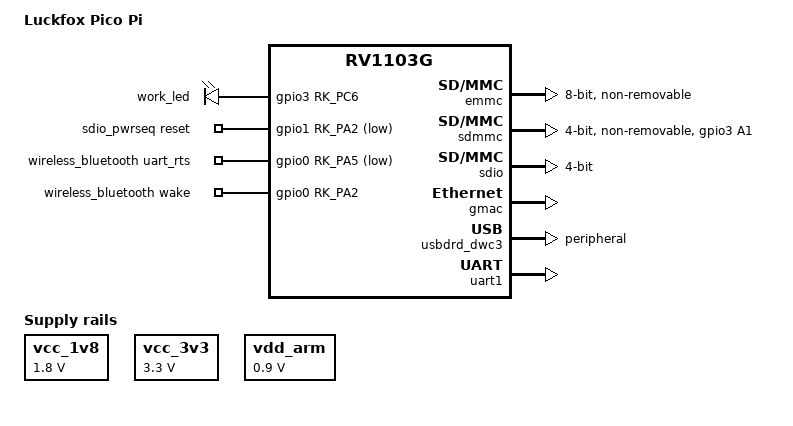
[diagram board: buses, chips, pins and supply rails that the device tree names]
// SPDX-License-Identifier: (GPL-2.0+ OR MIT)
/*
 * Copyright (c) 2023 Luckfox Electronics Co., Ltd.
 */

/dts-v1/;

#include "rv1106.dtsi"
#include <dt-bindings/input/input.h>

/ {
	model = "Luckfox Pico Pi";
	compatible = "rockchip,rv1103g-38x38-ipc-v10", "rockchip,rv1106g3";

	aliases {
		ethernet0 = &gmac;
		mmc0 = &emmc;
		mmc1 = &sdmmc;
		mmc2 = &sdio;
		serial2 = &uart2;
	};

	chosen {
		stdout-path = "serial2:115200n8";
	};

	vcc_1v8: vcc-1v8 {
		compatible = "regulator-fixed";
		regulator-name = "vcc_1v8";
		regulator-always-on;
		regulator-boot-on;
		regulator-min-microvolt = <1800000>;
		regulator-max-microvolt = <1800000>;
	};

	vcc_3v3: vcc-3v3 {
		compatible = "regulator-fixed";
		regulator-name = "vcc_3v3";
		regulator-always-on;
		regulator-boot-on;
		regulator-min-microvolt = <3300000>;
		regulator-max-microvolt = <3300000>;
	};

	vdd_arm: vdd-arm {
		compatible = "regulator-fixed";
		regulator-name = "vdd_arm";
		regulator-min-microvolt = <900000>;
		regulator-max-microvolt = <900000>;
		regulator-always-on;
		regulator-boot-on;
	};

	leds: leds {
		compatible = "gpio-leds";
		work_led: work{
			gpios = <&gpio3 RK_PC6 GPIO_ACTIVE_HIGH>;
			linux,default-trigger = "activity";
			default-state = "on";
		};
	};

	restart-poweroff {
		compatible = "restart-poweroff";
	};

	/* SDIO WiFi power sequence */
	sdio_pwrseq: sdio-pwrseq {
		compatible = "mmc-pwrseq-simple";
		pinctrl-names = "default";
		reset-gpios = <&gpio1 RK_PA2 GPIO_ACTIVE_LOW>;
	};

	/* Bluetooth over UART */
	wireless_bluetooth: wireless-bluetooth {
		compatible = "bluetooth-platdata";
		uart_rts_gpios = <&gpio0 RK_PA5 GPIO_ACTIVE_LOW>;
		pinctrl-names = "default", "rts_gpio";
		pinctrl-0 = <&uart1m0_rtsn>;
		pinctrl-1 = <&uart1_gpios>;
		BT,wake_gpio = <&gpio0 RK_PA2 GPIO_ACTIVE_HIGH>;
		status = "okay";
	};
};

/**********CRU**********/
//&cru {
//	assigned-clocks =
//		<&cru PLL_GPLL>, <&cru PLL_CPLL>,
//		<&cru ARMCLK>,
//		<&cru ACLK_PERI_ROOT>, <&cru HCLK_PERI_ROOT>,
//		<&cru PCLK_PERI_ROOT>, <&cru ACLK_BUS_ROOT>,
//		<&cru PCLK_TOP_ROOT>, <&cru PCLK_PMU_ROOT>,
//		<&cru HCLK_PMU_ROOT>, <&cru CLK_500M_SRC>;
//	assigned-clock-rates =
//		<1188000000>, <700000000>,
//		<1104000000>,
//		<400000000>, <200000000>,
//		<100000000>, <300000000>,
//		<100000000>, <100000000>,
//		<200000000>, <700000000>;
//};

/**********NPU**********/
//&npu {
//	assigned-clock-rates = <700000000>;
//};

/**********EMMC**********/
&emmc {
	bus-width = <8>;
	cap-mmc-highspeed;
	non-removable;
	rockchip,default-sample-phase = <90>;
	no-sdio;
	no-sd;
	post-power-on-delay-ms = <0>;
	status = "okay";
};

/**********SDIO-WIFI**********/
&sdmmc {
	max-frequency = <50000000>;
	bus-width = <4>;
	cap-sd-highspeed;
	cap-sdio-irq;
	keep-power-in-suspend;
	non-removable;
	rockchip,default-sample-phase = <90>;
	supports-sdio;
	mmc-pwrseq = <&sdio_pwrseq>;
	pinctrl-names = "default";
	pinctrl-0 = <&sdmmc0_clk &sdmmc0_cmd &sdmmc0_bus4 &sdmmc0_det>;
	status = "okay";
};

&pinctrl{
	sdmmc0 {
		sdmmc0_det: sdmmc0-det {
			rockchip,pins =
				/* sdmmc0_det */
				<3 RK_PA1 1 &pcfg_pull_down>;
		};
	};
};

/**********SD-CARD*********/
&sdio {
	max-frequency = <50000000>;
	no-sdio;
	no-mmc;
	supports-sd;
	bus-width = <4>;
	cap-mmc-highspeed;
	cap-sd-highspeed;
	disable-wp;
	pinctrl-names = "default";
	pinctrl-0 = <&sdmmc1m0_cmd &sdmmc1m0_clk &sdmmc1m0_bus4>;
	status = "okay";
};

/**********ETH**********/
&gmac {
	status = "okay";
};

/**********USB**********/
&usbdrd_dwc3 {
	status = "okay";
	dr_mode = "peripheral";
};

/**********BT**********/
&uart1 {
	status = "okay";
	pinctrl-names = "default";
	pinctrl-0 = <&uart1m0_xfer &uart1m0_ctsn>;
};

&pinctrl {
	wireless-bluetooth {
		uart1_gpios: uart1-gpios {
			rockchip,pins = <0 RK_PA5 RK_FUNC_GPIO &pcfg_pull_none>;
		};
	};
};

/**********SPI**********/
&spi0 {
	status = "disabled";
	spidev@0 {
		spi-max-frequency = <50000000>;
	};
};

#include "rv1106-camera.dtsi"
